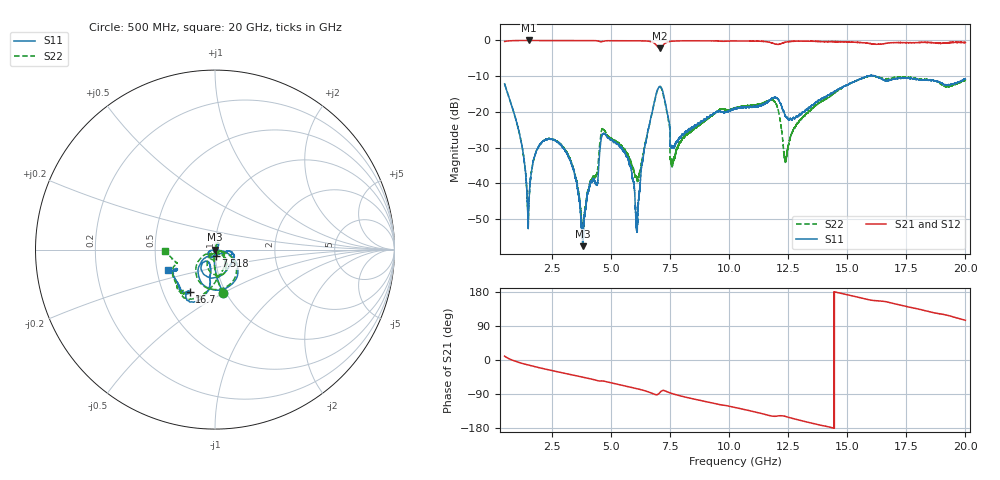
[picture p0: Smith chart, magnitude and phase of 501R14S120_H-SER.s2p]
!{501R14S120}
!Johanson Technology Inc.
!www.johansontechnology.com
!Test Board Conditions:
!Substrate Type  RO4350B
!Substrate Thickness  20 mil
!Substrate Dk  3.66
!TL Type: GCPW
!TL Trace Width  36 mil
!TL Gap  12 mil
!Electrode orientation  Horizontal
!DUT TOPOLOGY	SERIES
!Mounting Pad LxW  26x36 mil
! Created Wed Mar 11 16:03:36 2020
# mhz S ma R 50
! 2 Port Network Data from SP1.SP block
! freq  magS11  angS11  magS21  angS21  magS12  angS12  magS22  angS22
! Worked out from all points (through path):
!   19501 points, 500 MHz to 20 GHz, reference 50 ohm
!   highest |S21| = -0.02 dB at 1.526 GHz (marker M1); lowest = -2.3 dB at 7.075 GHz (marker M2)
!   group delay of S21, straight-line fit = 35.7 ps
!   lowest |S11| = -57.6 dB at 3.801 GHz (marker M3), VSWR 1.00, Z = 50.1 - j0.105 ohm
!   |S11| at or under -10 dB: start of sweep to 15.86 GHz; 15.86229 GHz to 15.86569 GHz (3.402 MHz wide, 0.0214 % of centre); 16.18 GHz to end of sweep (the widest 3 of 8)
!   |S22| runs from -54.7 to -9.9 dB; largest |S21 - S12| = 0.022
!   S11 on the Smith chart (normalised r, x): 500 MHz: 0.97, -0.50; 7.518 GHz: 1.01, -0.07; 16.7 GHz: 0.68, -0.35; 20 GHz: 0.57, -0.14
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500  0.2461 -79.0  0.9655 10.2  0.9662 10.1  0.2466 -79.4
1143  0.04696 -94.8  0.9955 -7.1  0.9963 -7.1  0.0471 -96.5
1526  0.005022 68.0  0.998 -13.7  0.997 -13.8  0.004719 68.1
1886  0.03023 70.0  0.9969 -19.2  0.9964 -19.2  0.03046 71.5
2596  0.04023 57.6  0.9957 -29.1  0.9952 -29.1  0.04076 66.2
3347  0.01795 41.5  0.9954 -39.2  0.9952 -39.2  0.01861 65.6
3750  0.002588 3.3  0.9951 -44.5  0.9948 -44.5  0.003181 104.1
3801  0.00132 -52.5  0.9943 -45.2  0.9957 -45.3  0.002034 136.9
4701  0.04946 -130.3  0.9751 -55.7  0.975 -55.7  0.0563 -119.6
5660  0.02398 -168.9  0.9917 -69.3  0.9923 -69.3  0.02696 -133.1
6117  0.00255 -90.6  0.9894 -75.9  0.9889 -76.0  0.011 -78.9
6382  0.02525 -10.2  0.9844 -80.3  0.9844 -80.2  0.02688 -20.2
7000  0.2147 -64.6  0.7974 -90.1  0.797 -90.2  0.2119 -68.3
7075  0.2274 -84.3  0.7708 -85.8  0.7712 -85.7  0.2226 -89.1
7518  0.03452 -83.8  0.9692 -87.1  0.9697 -87.1  0.02177 -86.9
10250  0.1115 -16.0  0.9817 -125.3  0.9813 -125.3  0.113 -57.9
11904  0.1584 -93.3  0.9 -148.6  0.9032 -148.5  0.141 -89.4
12392  0.0856 -130.6  0.9465 -148.9  0.9485 -148.9  0.02092 -72.5
13500  0.1234 -101.7  0.9736 -166.6  0.9763 -166.7  0.1114 -62.8
16699  0.2751 -120.8  0.9158 153.0  0.9108 153.0  0.2899 -126.6
16750  0.2743 -121.5  0.9214 152.3  0.9167 152.1  0.2923 -125.1
20000  0.2867 -156.2  0.9316 104.9  0.9324 105.2  0.2762 -178.4
